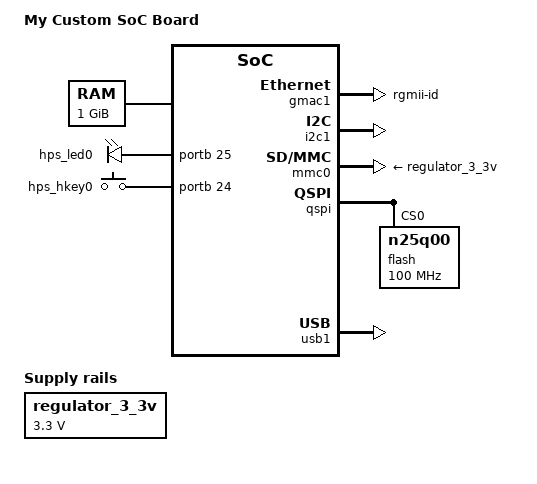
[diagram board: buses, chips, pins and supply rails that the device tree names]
// SPDX-License-Identifier: GPL-2.0+
/*
 * Copyright (C) 2013 Steffen Trumtrar <s.trumtrar@pengutronix.de>
 */

#include "socfpga_cyclone5.dtsi"

/ {
	model = "My Custom SoC Board";
	compatible = "custom,socfpga-cyclone5-my-custom-soc-board", "altr,socfpga-cyclone5", "altr,socfpga";

	chosen {
		bootargs = "earlyprintk";
		stdout-path = "serial0:115200n8";
	};

	memory {
		name = "memory";
		device_type = "memory";
		reg = <0x0 0x40000000>; /* 1GB */
	};

	aliases {
		/* this allow the ethaddr uboot environmnet variable contents
		 * to be added to the gmac1 device tree blob.
		 */
		ethernet0 = &gmac1;
	};

	leds {
		compatible = "gpio-leds";

		hps_led0 {
			label = "hps_led0";
			gpios = <&portb 25 0>;	/* HPS_GPIO54 */
			linux,default-trigger = "heartbeat";
		};

	};

	gpio-keys {
		compatible = "gpio-keys";

		hps_hkey0 {
			label = "hps_hkey0";
			gpios = <&portb 24 0>;	/* HPS_GPIO53 */
			linux,code = <190>;	/* KEY_F20 */
		};

	};

	regulator_3_3v: vcc3p3-regulator {
		compatible = "regulator-fixed";
		regulator-name = "VCC3P3";
		regulator-min-microvolt = <3300000>;
		regulator-max-microvolt = <3300000>;
	};
};

&gmac1 {
	status = "okay";
	phy-mode = "rgmii-id";

	rxd0-skew-ps = <420>;
	rxd1-skew-ps = <420>;
	rxd2-skew-ps = <420>;
	rxd3-skew-ps = <420>;
	txen-skew-ps = <0>;
	txc-skew-ps = <1860>;
	rxdv-skew-ps = <420>;
	rxc-skew-ps = <1680>;
};

&gpio0 {	/* GPIO 0..29 */
	status = "okay";
};

&gpio1 {	/* GPIO 30..57 */
	status = "okay";
};

&gpio2 {	/* GPIO 58..66 (HLGPI 0..13 at offset 13) */
	status = "okay";
};

&i2c1 {
	status = "okay";
};

&mmc0 {
	vmmc-supply = <&regulator_3_3v>;
	vqmmc-supply = <&regulator_3_3v>;
	status = "okay";
};

&qspi {
	status = "okay";

	flash: flash@0 {
		#address-cells = <1>;
		#size-cells = <1>;
		compatible = "n25q00";
		reg = <0>;
		spi-max-frequency = <100000000>;

		m25p,fast-read;
		cdns,page-size = <256>;
		cdns,block-size = <16>;
		cdns,read-delay = <4>;
		cdns,tshsl-ns = <50>;
		cdns,tsd2d-ns = <50>;
		cdns,tchsh-ns = <4>;
		cdns,tslch-ns = <4>;
	};
};

&usb1 {
	status = "okay";
};
